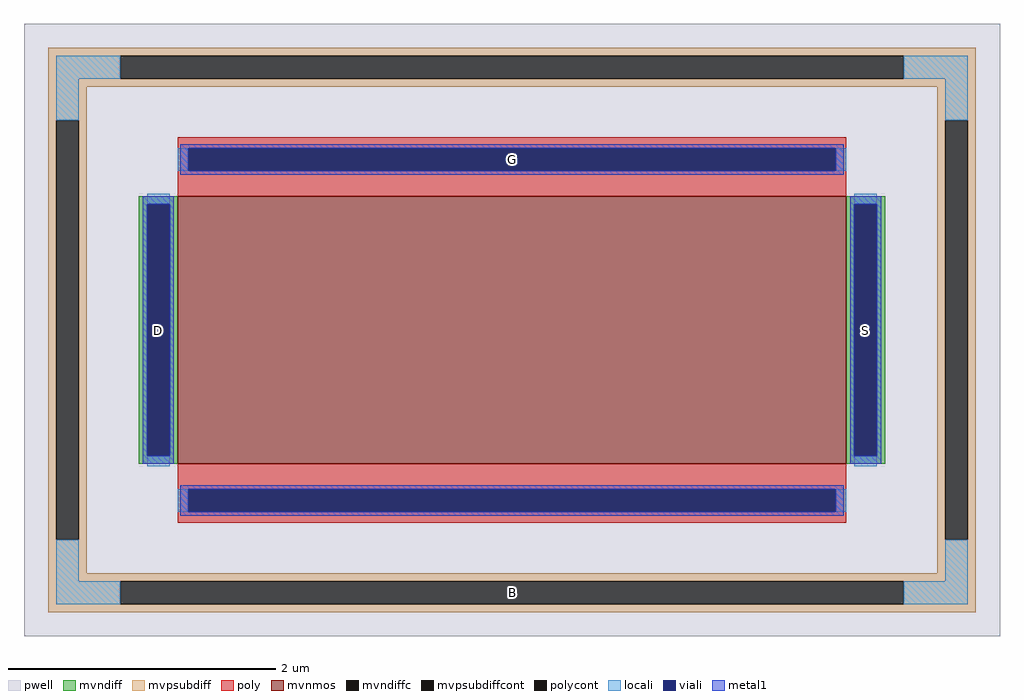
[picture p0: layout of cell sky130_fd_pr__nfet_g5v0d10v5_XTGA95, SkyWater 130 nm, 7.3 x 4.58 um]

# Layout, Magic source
magic
tech sky130A
magscale 1 2
<< pwell >>
rect -730 -458 730 458
<< mvnmos >>
rect -500 -200 500 200
<< mvndiff >>
rect -558 188 -500 200
rect -558 -188 -546 188
rect -512 -188 -500 188
rect -558 -200 -500 -188
rect 500 188 558 200
rect 500 -188 512 188
rect 546 -188 558 188
rect 500 -200 558 -188
<< mvndiffc >>
rect -546 -188 -512 188
rect 512 -188 546 188
<< mvpsubdiff >>
rect -694 410 694 422
rect -694 376 -586 410
rect 586 376 694 410
rect -694 364 694 376
rect -694 314 -636 364
rect -694 -314 -682 314
rect -648 -314 -636 314
rect 636 314 694 364
rect -694 -364 -636 -314
rect 636 -314 648 314
rect 682 -314 694 314
rect 636 -364 694 -314
rect -694 -376 694 -364
rect -694 -410 -586 -376
rect 586 -410 694 -376
rect -694 -422 694 -410
<< mvpsubdiffcont >>
rect -586 376 586 410
rect -682 -314 -648 314
rect 648 -314 682 314
rect -586 -410 586 -376
<< poly >>
rect -500 272 500 288
rect -500 238 -484 272
rect 484 238 500 272
rect -500 200 500 238
rect -500 -238 500 -200
rect -500 -272 -484 -238
rect 484 -272 500 -238
rect -500 -288 500 -272
<< polycont >>
rect -484 238 484 272
rect -484 -272 484 -238
<< locali >>
rect -682 376 -586 410
rect 586 376 682 410
rect -682 314 -648 376
rect 648 314 682 376
rect -500 238 -484 272
rect 484 238 500 272
rect -546 188 -512 204
rect -546 -204 -512 -188
rect 512 188 546 204
rect 512 -204 546 -188
rect -500 -272 -484 -238
rect 484 -272 500 -238
rect -682 -376 -648 -314
rect 648 -376 682 -314
rect -682 -410 -586 -376
rect 586 -410 682 -376
<< viali >>
rect -484 238 484 272
rect -546 -188 -512 188
rect 512 -188 546 188
rect -484 -272 484 -238
<< metal1 >>
rect -496 272 496 278
rect -496 238 -484 272
rect 484 238 496 272
rect -496 232 496 238
rect -552 188 -506 200
rect -552 -188 -546 188
rect -512 -188 -506 188
rect -552 -200 -506 -188
rect 506 188 552 200
rect 506 -188 512 188
rect 546 -188 552 188
rect 506 -200 552 -188
rect -496 -238 496 -232
rect -496 -272 -484 -238
rect 484 -272 496 -238
rect -496 -278 496 -272
<< labels >>
rlabel mvpsubdiffcont 0 -393 0 -393 0 B
port 1 nsew
rlabel mvndiffc -529 0 -529 0 0 D
port 2 nsew
rlabel mvndiffc 529 0 529 0 0 S
port 3 nsew
rlabel polycont 0 255 0 255 0 G
port 4 nsew
<< properties >>
string FIXED_BBOX -665 -393 665 393
string gencell sky130_fd_pr__nfet_g5v0d10v5
string library sky130
string parameters w 2 l 5 m 1 nf 1 diffcov 100 polycov 100 guard 1 glc 1 grc 1 gtc 1 gbc 1 tbcov 100 rlcov 100 topc 1 botc 1 poverlap 0 doverlap 1 lmin 0.50 wmin 0.42 class mosfet compatible {sky130_fd_pr__nfet_01v8 sky130_fd_pr__nfet_01v8_lvt  sky130_fd_bs_flash__special_sonosfet_star  sky130_fd_pr__nfet_g5v0d10v5 sky130_fd_pr__nfet_05v0_nvt  sky130_fd_pr__nfet_03v3_nvt} full_metal 1 conn_gates 0 viasrc 100 viadrn 100 viagate 100 viagb 0 viagr 0 viagl 0 viagt 0 doports 1
<< end >>
